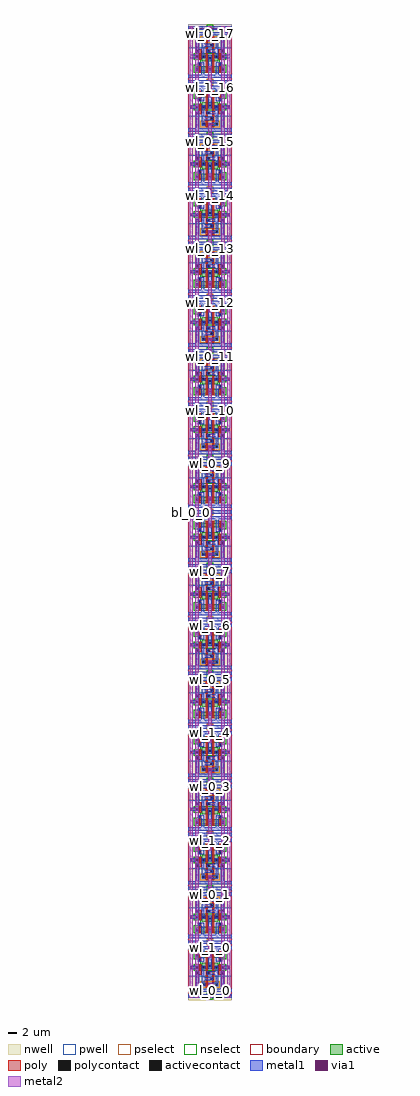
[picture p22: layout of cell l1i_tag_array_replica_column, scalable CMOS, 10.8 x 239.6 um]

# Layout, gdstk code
import gdstk
lib = gdstk.Library(unit=1e-6, precision=1e-09)
def R(c, l, rs):  # rectangles x0, y0, x1, y1
    for r in rs: c.add(gdstk.rectangle(r[:2], r[2:], *l))
def A(c, l, x, y, w, h, nx, ny, dx, dy):  # array of equal rectangles
    R(c, l, [(x+i*dx, y+j*dy, x+i*dx+w, y+j*dy+h) for i in range(nx) for j in range(ny)])
pwell = (41, 0)
nwell = (42, 0)
active = (43, 0)
pselect = (44, 0)
nselect = (45, 0)
poly = (46, 0)
polycontact = (47, 0)
activecontact = (48, 0)
metal1 = (49, 0)
via1 = (50, 0)
metal2 = (51, 0)
boundary = (63, 0)

replica_cell_2rw = lib.new_cell('replica_cell_2rw')
R(replica_cell_2rw, pwell, [(0,-1.05,10.8,8.4)])
R(replica_cell_2rw, nwell, [(0,8.4,10.8,14.2)])
A(replica_cell_2rw, active, 3.4, 10.6, 0.8, 0.2, 3, 1, 1.6, 0)
R(replica_cell_2rw, active, [(5,-0.4,5.8,0.4), (1.8,2.6,9,3.8), (3.4,5,7.4,5.8), (1.8,5.8,9,6.6), (3.4,10,7.4,10.6), (5,12.8,5.8,13.6)])
R(replica_cell_2rw, pselect, [(4.6,-0.8,6.2,0.8), (3,9.6,7.8,11.2)])
R(replica_cell_2rw, nselect, [(1.4,2.2,9.4,4.2), (3,4.2,7.8,5.4), (1.4,5.4,9.4,7), (4.6,12.4,6.2,14)])
R(replica_cell_2rw, poly, [(2.8,2.2,3.2,4), (4.4,2.2,4.8,7.2), (6,2.2,6.4,8.6), (7.6,2.2,8,4), (2.4,4,3.2,4.8), (7.6,4,8.4,4.8), (2.8,5.4,3.2,7.2), (7.6,5.4,8,7.2), (2,7.2,3.2,8), (4.4,7.2,5.4,8), (7.6,7.2,8.8,8), (4.4,8,4.8,11.2), (5.4,8.6,6.4,9.4), (6,9.4,6.4,11.2)])
R(replica_cell_2rw, polycontact, [(2.6,4.2,3,4.6), (7.8,4.2,8.2,4.6), (2.2,7.4,2.6,7.8), (4.8,7.4,5.2,7.8), (8.2,7.4,8.6,7.8), (5.6,8.8,6,9.2)])
A(replica_cell_2rw, activecontact, 3.6, 10.2, 0.4, 0.4, 3, 1, 1.6, 0)
R(replica_cell_2rw, activecontact, [(5.2,-0.2,5.6,0.2), (2,2.8,2.4,3.2), (8.4,2.8,8.8,3.2), (5.2,3,5.6,3.4), (5.2,5.6,5.6,6), (2,6,2.4,6.4), (3.6,6,4,6.4), (6.8,6,7.2,6.4), (8.4,6,8.8,6.4), (5.2,13,5.6,13.4)])
R(replica_cell_2rw, metal1, [(0,-0.4,10.8,0.4), (0,-0.4,10.8,0.4), (0,1,10.8,1.8), (0,1,10.8,1.8), (3.2,1.8,4,4), (6.8,1.8,7.6,4), (1.8,2.6,2.6,3.4), (5,2.6,5.8,6.6), (8.2,2.6,9,3.4), (2.4,4,4,4.8), (6.8,4,8.4,4.8), (0.4,5.8,2.6,6.6), (3.4,5.8,4.2,6.6), (6.6,5.8,7.4,6.6), (8.2,5.8,10.4,6.6), (3.4,6.6,4,8.6), (6.8,6.6,7.4,7.2), (2,7.2,2.8,11.4), (4.6,7.2,7.4,8), (8,7.2,8.8,11.4), (6.8,8,7.4,10), (3.4,8.6,6.2,9.4), (3.4,9.4,4,10), (3.4,10,4.2,10.8), (5,10,5.8,10.8), (5,10,7.4,10.8), (0,11.4,10.8,12.2), (0,11.4,10.8,12.2), (0,12.8,10.8,13.6), (0,12.8,10.8,13.6)])
R(replica_cell_2rw, via1, [(5.2,-0.2,5.6,0.2), (2,2.8,2.4,3.2), (8.4,2.8,8.8,3.2), (5.2,3,5.6,3.4), (0.6,6,1,6.4), (9.8,6,10.2,6.4), (5.2,10.2,5.6,10.6), (5.2,13,5.6,13.4)])
R(replica_cell_2rw, metal2, [(0.4,-0.4,1.2,13.6), (0.4,-0.4,1.2,13.6), (1.8,-0.4,2.6,13.6), (1.8,-0.4,2.6,13.6), (5,-0.4,5.8,3.8), (8.2,-0.4,9,13.6), (8.2,-0.4,9,13.6), (9.6,-0.4,10.4,13.6), (9.6,-0.4,10.4,13.6), (5,10,5.8,13.6)])
R(replica_cell_2rw, boundary, [(0,0.005,10.8,13.2)])
replica_cell_2rw.add(gdstk.Label('gnd', (4.36,-0.115), layer=49, texttype=0))
replica_cell_2rw.add(gdstk.Label('wl1', (4.2,1.3), layer=49, texttype=0))
replica_cell_2rw.add(gdstk.Label('wl0', (3.8,11.8), layer=49, texttype=0))
replica_cell_2rw.add(gdstk.Label('vdd', (3.8,13.2), layer=49, texttype=0))
replica_cell_2rw.add(gdstk.Label('bl0', (0.8,0.6), layer=51, texttype=0))
replica_cell_2rw.add(gdstk.Label('bl1', (2.2,0.6), layer=51, texttype=0))
replica_cell_2rw.add(gdstk.Label('br1', (8.6,0.6), layer=51, texttype=0))
replica_cell_2rw.add(gdstk.Label('br0', (10,0.6), layer=51, texttype=0))
replica_cell_2rw.add(gdstk.Label('bl0', (0.8,6.6), layer=51, texttype=0))
replica_cell_2rw.add(gdstk.Label('br0', (10,6.6), layer=51, texttype=0))
replica_cell_2rw.add(gdstk.Label('bl1', (2.2,6.6), layer=51, texttype=0))
replica_cell_2rw.add(gdstk.Label('br1', (8.6,6.6), layer=51, texttype=0))
replica_cell_2rw.add(gdstk.Label('wl0', (5.4,11.8), layer=49, texttype=0))
replica_cell_2rw.add(gdstk.Label('wl1', (5.4,1.4), layer=49, texttype=0))
replica_cell_2rw.add(gdstk.Label('vdd', (5.4,13.2), layer=49, texttype=0))
replica_cell_2rw.add(gdstk.Label('gnd', (5.4,0), layer=49, texttype=0))

dummy_cell_2rw = lib.new_cell('dummy_cell_2rw')
R(dummy_cell_2rw, pwell, [(0,-1.05,10.8,8.4)])
R(dummy_cell_2rw, nwell, [(0,8.4,10.8,14.2)])
A(dummy_cell_2rw, active, 3.4, 10.6, 0.8, 0.2, 3, 1, 1.6, 0)
R(dummy_cell_2rw, active, [(5,-0.4,5.8,0.4), (1.8,2.6,9,3.8), (3.4,5,7.4,5.8), (1.8,5.8,9,6.6), (3.4,10,7.4,10.6), (5,12.8,5.8,13.6)])
R(dummy_cell_2rw, pselect, [(4.6,-0.8,6.2,0.8), (3,9.6,7.8,11.2)])
R(dummy_cell_2rw, nselect, [(1.4,2.2,9.4,4.2), (3,4.2,7.8,5.4), (1.4,5.4,9.4,7), (4.6,12.4,6.2,14)])
R(dummy_cell_2rw, poly, [(2.8,2.2,3.2,4), (4.4,2.2,4.8,7.2), (6,2.2,6.4,8.6), (7.6,2.2,8,4), (2.4,4,3.2,4.8), (7.6,4,8.4,4.8), (2.8,5.4,3.2,7.2), (7.6,5.4,8,7.2), (2,7.2,3.2,8), (4.4,7.2,5.4,8), (7.6,7.2,8.8,8), (4.4,8,4.8,11.2), (5.4,8.6,6.4,9.4), (6,9.4,6.4,11.2)])
R(dummy_cell_2rw, polycontact, [(2.6,4.2,3,4.6), (7.8,4.2,8.2,4.6), (2.2,7.4,2.6,7.8), (4.8,7.4,5.2,7.8), (8.2,7.4,8.6,7.8), (5.6,8.8,6,9.2)])
A(dummy_cell_2rw, activecontact, 3.6, 10.2, 0.4, 0.4, 3, 1, 1.6, 0)
R(dummy_cell_2rw, activecontact, [(5.2,-0.2,5.6,0.2), (2,2.8,2.4,3.2), (8.4,2.8,8.8,3.2), (5.2,3,5.6,3.4), (5.2,5.6,5.6,6), (2,6,2.4,6.4), (3.6,6,4,6.4), (6.8,6,7.2,6.4), (8.4,6,8.8,6.4), (5.2,13,5.6,13.4)])
A(dummy_cell_2rw, metal1, 3.4, 10, 0.8, 0.8, 3, 1, 1.6, 0)
R(dummy_cell_2rw, metal1, [(0,-0.4,10.8,0.4), (0,-0.4,10.8,0.4), (0,1,10.8,1.8), (0,1,10.8,1.8), (3.2,1.8,4,4), (6.8,1.8,7.6,4), (1.8,2.6,2.6,3.4), (5,2.6,5.8,6.6), (8.2,2.6,9,3.4), (2.4,4,4,4.8), (6.8,4,8.4,4.8), (0.4,5.8,2.6,6.6), (3.4,5.8,4.2,6.6), (6.6,5.8,7.4,6.6), (8.2,5.8,10.4,6.6), (3.4,6.6,4,8.6), (6.8,6.6,7.4,7.2), (2,7.2,2.8,11.4), (4.6,7.2,7.4,8), (8,7.2,8.8,11.4), (6.8,8,7.4,10), (3.4,8.6,6.2,9.4), (3.4,9.4,4,10), (0,11.4,10.8,12.2), (0,11.4,10.8,12.2), (0,12.8,10.8,13.6), (0,12.8,10.8,13.6)])
R(dummy_cell_2rw, via1, [(5.2,-0.2,5.6,0.2), (5.2,3,5.6,3.4), (5.2,10.2,5.6,10.6), (5.2,13,5.6,13.4)])
R(dummy_cell_2rw, metal2, [(0.4,-0.4,1.2,13.6), (0.4,-0.4,1.2,13.6), (1.8,-0.4,2.6,13.6), (1.8,-0.4,2.6,13.6), (5,-0.4,5.8,3.8), (8.2,-0.4,9,13.6), (8.2,-0.4,9,13.6), (9.6,-0.4,10.4,13.6), (9.6,-0.4,10.4,13.6), (5,10,5.8,13.6)])
R(dummy_cell_2rw, boundary, [(0,0.005,10.8,13.2)])
dummy_cell_2rw.add(gdstk.Label('gnd', (4.36,-0.115), layer=49, texttype=0))
dummy_cell_2rw.add(gdstk.Label('wl1', (4.2,1.3), layer=49, texttype=0))
dummy_cell_2rw.add(gdstk.Label('wl0', (3.8,11.8), layer=49, texttype=0))
dummy_cell_2rw.add(gdstk.Label('vdd', (3.8,13.2), layer=49, texttype=0))
dummy_cell_2rw.add(gdstk.Label('bl0', (0.8,0.6), layer=51, texttype=0))
dummy_cell_2rw.add(gdstk.Label('bl1', (2.2,0.6), layer=51, texttype=0))
dummy_cell_2rw.add(gdstk.Label('br1', (8.6,0.6), layer=51, texttype=0))
dummy_cell_2rw.add(gdstk.Label('br0', (10,0.6), layer=51, texttype=0))
dummy_cell_2rw.add(gdstk.Label('bl0', (0.8,6.6), layer=51, texttype=0))
dummy_cell_2rw.add(gdstk.Label('br0', (10,6.6), layer=51, texttype=0))
dummy_cell_2rw.add(gdstk.Label('bl1', (2.2,6.6), layer=51, texttype=0))
dummy_cell_2rw.add(gdstk.Label('br1', (8.6,6.6), layer=51, texttype=0))
dummy_cell_2rw.add(gdstk.Label('wl0', (5.4,11.8), layer=49, texttype=0))
dummy_cell_2rw.add(gdstk.Label('wl1', (5.4,1.4), layer=49, texttype=0))
dummy_cell_2rw.add(gdstk.Label('vdd', (5.4,13.2), layer=49, texttype=0))
dummy_cell_2rw.add(gdstk.Label('gnd', (5.4,0), layer=49, texttype=0))

l1i_tag_array_replica_co = lib.new_cell('l1i_tag_array_replica_column')
A(l1i_tag_array_replica_co, metal1, 0, 11.4, 10.8, 0.8, 1, 3, 0, 1.4)
A(l1i_tag_array_replica_co, metal1, 0, 24.6, 10.8, 0.8, 1, 3, 0, 1.4)
A(l1i_tag_array_replica_co, metal1, 0, 37.8, 10.8, 0.8, 1, 3, 0, 1.4)
A(l1i_tag_array_replica_co, metal1, 0, 51, 10.8, 0.8, 1, 3, 0, 1.4)
A(l1i_tag_array_replica_co, metal1, 0, 64.2, 10.8, 0.8, 1, 3, 0, 1.4)
A(l1i_tag_array_replica_co, metal1, 0, 77.4, 10.8, 0.8, 1, 3, 0, 1.4)
A(l1i_tag_array_replica_co, metal1, 0, 90.6, 10.8, 0.8, 1, 3, 0, 1.4)
A(l1i_tag_array_replica_co, metal1, 0, 103.8, 10.8, 0.8, 1, 3, 0, 1.4)
A(l1i_tag_array_replica_co, metal1, 0, 117, 10.8, 0.8, 1, 3, 0, 1.4)
A(l1i_tag_array_replica_co, metal1, 0, 130.2, 10.8, 0.8, 1, 3, 0, 1.4)
A(l1i_tag_array_replica_co, metal1, 0, 143.4, 10.8, 0.8, 1, 3, 0, 1.4)
A(l1i_tag_array_replica_co, metal1, 0, 156.6, 10.8, 0.8, 1, 3, 0, 1.4)
A(l1i_tag_array_replica_co, metal1, 0, 169.8, 10.8, 0.8, 1, 3, 0, 1.4)
A(l1i_tag_array_replica_co, metal1, 0, 183, 10.8, 0.8, 1, 3, 0, 1.4)
A(l1i_tag_array_replica_co, metal1, 0, 196.2, 10.8, 0.8, 1, 3, 0, 1.4)
A(l1i_tag_array_replica_co, metal1, 0, 209.4, 10.8, 0.8, 1, 3, 0, 1.4)
A(l1i_tag_array_replica_co, metal1, 0, 222.6, 10.8, 0.8, 1, 3, 0, 1.4)
R(l1i_tag_array_replica_co, metal1, [(0,-0.4,10.8,0.4), (0,1,10.8,1.8), (0,235.8,10.8,236.6), (0,237.2,10.8,238)])
R(l1i_tag_array_replica_co, metal2, [(0.4,0,1.2,237.6), (1.8,0,2.6,237.6), (8.2,0,9,237.6), (9.6,0,10.4,237.6)])
R(l1i_tag_array_replica_co, boundary, [(0,0,10.8,237.6)])
l1i_tag_array_replica_co.add(gdstk.Reference(replica_cell_2rw, (0,13.2), x_reflection=True))
l1i_tag_array_replica_co.add(gdstk.Reference(replica_cell_2rw, (0,13.2)))
l1i_tag_array_replica_co.add(gdstk.Reference(replica_cell_2rw, (0,39.6), x_reflection=True))
l1i_tag_array_replica_co.add(gdstk.Reference(replica_cell_2rw, (0,39.6)))
l1i_tag_array_replica_co.add(gdstk.Reference(replica_cell_2rw, (0,66), x_reflection=True))
l1i_tag_array_replica_co.add(gdstk.Reference(replica_cell_2rw, (0,66)))
l1i_tag_array_replica_co.add(gdstk.Reference(replica_cell_2rw, (0,92.4), x_reflection=True))
l1i_tag_array_replica_co.add(gdstk.Reference(replica_cell_2rw, (0,92.4)))
l1i_tag_array_replica_co.add(gdstk.Reference(replica_cell_2rw, (0,118.8), x_reflection=True))
l1i_tag_array_replica_co.add(gdstk.Reference(replica_cell_2rw, (0,118.8)))
l1i_tag_array_replica_co.add(gdstk.Reference(replica_cell_2rw, (0,145.2), x_reflection=True))
l1i_tag_array_replica_co.add(gdstk.Reference(replica_cell_2rw, (0,145.2)))
l1i_tag_array_replica_co.add(gdstk.Reference(replica_cell_2rw, (0,171.6), x_reflection=True))
l1i_tag_array_replica_co.add(gdstk.Reference(replica_cell_2rw, (0,171.6)))
l1i_tag_array_replica_co.add(gdstk.Reference(replica_cell_2rw, (0,198), x_reflection=True))
l1i_tag_array_replica_co.add(gdstk.Reference(replica_cell_2rw, (0,198)))
l1i_tag_array_replica_co.add(gdstk.Reference(replica_cell_2rw, (0,224.4), x_reflection=True))
l1i_tag_array_replica_co.add(gdstk.Reference(dummy_cell_2rw, (0,224.4)))
l1i_tag_array_replica_co.add(gdstk.Label('bl_0_0', (0.8,118.8), layer=51, texttype=0))
l1i_tag_array_replica_co.add(gdstk.Label('br_0_0', (10,118.8), layer=51, texttype=0))
l1i_tag_array_replica_co.add(gdstk.Label('bl_1_0', (2.2,118.8), layer=51, texttype=0))
l1i_tag_array_replica_co.add(gdstk.Label('br_1_0', (8.6,118.8), layer=51, texttype=0))
l1i_tag_array_replica_co.add(gdstk.Label('wl_0_0', (5.4,1.4), layer=49, texttype=0))
l1i_tag_array_replica_co.add(gdstk.Label('wl_0_1', (5.4,25), layer=49, texttype=0))
l1i_tag_array_replica_co.add(gdstk.Label('wl_0_2', (5.4,27.8), layer=49, texttype=0))
l1i_tag_array_replica_co.add(gdstk.Label('wl_0_3', (5.4,51.4), layer=49, texttype=0))
l1i_tag_array_replica_co.add(gdstk.Label('wl_0_4', (5.4,54.2), layer=49, texttype=0))
l1i_tag_array_replica_co.add(gdstk.Label('wl_0_5', (5.4,77.8), layer=49, texttype=0))
l1i_tag_array_replica_co.add(gdstk.Label('wl_0_6', (5.4,80.6), layer=49, texttype=0))
l1i_tag_array_replica_co.add(gdstk.Label('wl_0_7', (5.4,104.2), layer=49, texttype=0))
l1i_tag_array_replica_co.add(gdstk.Label('wl_0_8', (5.4,107), layer=49, texttype=0))
l1i_tag_array_replica_co.add(gdstk.Label('wl_0_9', (5.4,130.6), layer=49, texttype=0))
l1i_tag_array_replica_co.add(gdstk.Label('wl_0_10', (5.4,133.4), layer=49, texttype=0))
l1i_tag_array_replica_co.add(gdstk.Label('wl_0_11', (5.4,157), layer=49, texttype=0))
l1i_tag_array_replica_co.add(gdstk.Label('wl_0_12', (5.4,159.8), layer=49, texttype=0))
l1i_tag_array_replica_co.add(gdstk.Label('wl_0_13', (5.4,183.4), layer=49, texttype=0))
l1i_tag_array_replica_co.add(gdstk.Label('wl_0_14', (5.4,186.2), layer=49, texttype=0))
l1i_tag_array_replica_co.add(gdstk.Label('wl_0_15', (5.4,209.8), layer=49, texttype=0))
l1i_tag_array_replica_co.add(gdstk.Label('wl_0_16', (5.4,212.6), layer=49, texttype=0))
l1i_tag_array_replica_co.add(gdstk.Label('wl_0_17', (5.4,236.2), layer=49, texttype=0))
l1i_tag_array_replica_co.add(gdstk.Label('wl_1_0', (5.4,11.8), layer=49, texttype=0))
l1i_tag_array_replica_co.add(gdstk.Label('wl_1_1', (5.4,14.6), layer=49, texttype=0))
l1i_tag_array_replica_co.add(gdstk.Label('wl_1_2', (5.4,38.2), layer=49, texttype=0))
l1i_tag_array_replica_co.add(gdstk.Label('wl_1_3', (5.4,41), layer=49, texttype=0))
l1i_tag_array_replica_co.add(gdstk.Label('wl_1_4', (5.4,64.6), layer=49, texttype=0))
l1i_tag_array_replica_co.add(gdstk.Label('wl_1_5', (5.4,67.4), layer=49, texttype=0))
l1i_tag_array_replica_co.add(gdstk.Label('wl_1_6', (5.4,91), layer=49, texttype=0))
l1i_tag_array_replica_co.add(gdstk.Label('wl_1_7', (5.4,93.8), layer=49, texttype=0))
l1i_tag_array_replica_co.add(gdstk.Label('wl_1_8', (5.4,117.4), layer=49, texttype=0))
l1i_tag_array_replica_co.add(gdstk.Label('wl_1_9', (5.4,120.2), layer=49, texttype=0))
l1i_tag_array_replica_co.add(gdstk.Label('wl_1_10', (5.4,143.8), layer=49, texttype=0))
l1i_tag_array_replica_co.add(gdstk.Label('wl_1_11', (5.4,146.6), layer=49, texttype=0))
l1i_tag_array_replica_co.add(gdstk.Label('wl_1_12', (5.4,170.2), layer=49, texttype=0))
l1i_tag_array_replica_co.add(gdstk.Label('wl_1_13', (5.4,173), layer=49, texttype=0))
l1i_tag_array_replica_co.add(gdstk.Label('wl_1_14', (5.4,196.6), layer=49, texttype=0))
l1i_tag_array_replica_co.add(gdstk.Label('wl_1_15', (5.4,199.4), layer=49, texttype=0))
l1i_tag_array_replica_co.add(gdstk.Label('wl_1_16', (5.4,223), layer=49, texttype=0))
l1i_tag_array_replica_co.add(gdstk.Label('wl_1_17', (5.4,225.8), layer=49, texttype=0))
l1i_tag_array_replica_co.add(gdstk.Label('vdd', (5.4,132), layer=49, texttype=0))
l1i_tag_array_replica_co.add(gdstk.Label('vdd', (5.4,184.8), layer=49, texttype=0))
l1i_tag_array_replica_co.add(gdstk.Label('vdd', (5.4,0), layer=49, texttype=0))
l1i_tag_array_replica_co.add(gdstk.Label('vdd', (5.4,237.6), layer=49, texttype=0))
l1i_tag_array_replica_co.add(gdstk.Label('vdd', (5.4,105.6), layer=49, texttype=0))
l1i_tag_array_replica_co.add(gdstk.Label('vdd', (5.4,158.4), layer=49, texttype=0))
l1i_tag_array_replica_co.add(gdstk.Label('vdd', (5.4,79.2), layer=49, texttype=0))
l1i_tag_array_replica_co.add(gdstk.Label('vdd', (5.4,211.2), layer=49, texttype=0))
l1i_tag_array_replica_co.add(gdstk.Label('vdd', (5.4,52.8), layer=49, texttype=0))
l1i_tag_array_replica_co.add(gdstk.Label('vdd', (5.4,26.4), layer=49, texttype=0))
l1i_tag_array_replica_co.add(gdstk.Label('gnd', (5.4,66), layer=49, texttype=0))
l1i_tag_array_replica_co.add(gdstk.Label('gnd', (5.4,39.6), layer=49, texttype=0))
l1i_tag_array_replica_co.add(gdstk.Label('gnd', (5.4,224.4), layer=49, texttype=0))
l1i_tag_array_replica_co.add(gdstk.Label('gnd', (5.4,171.6), layer=49, texttype=0))
l1i_tag_array_replica_co.add(gdstk.Label('gnd', (5.4,145.2), layer=49, texttype=0))
l1i_tag_array_replica_co.add(gdstk.Label('gnd', (5.4,13.2), layer=49, texttype=0))
l1i_tag_array_replica_co.add(gdstk.Label('gnd', (5.4,92.4), layer=49, texttype=0))
l1i_tag_array_replica_co.add(gdstk.Label('gnd', (5.4,118.8), layer=49, texttype=0))
l1i_tag_array_replica_co.add(gdstk.Label('gnd', (5.4,198), layer=49, texttype=0))

lib.write_gds('l1i_tag_array_replica_column.gds')
